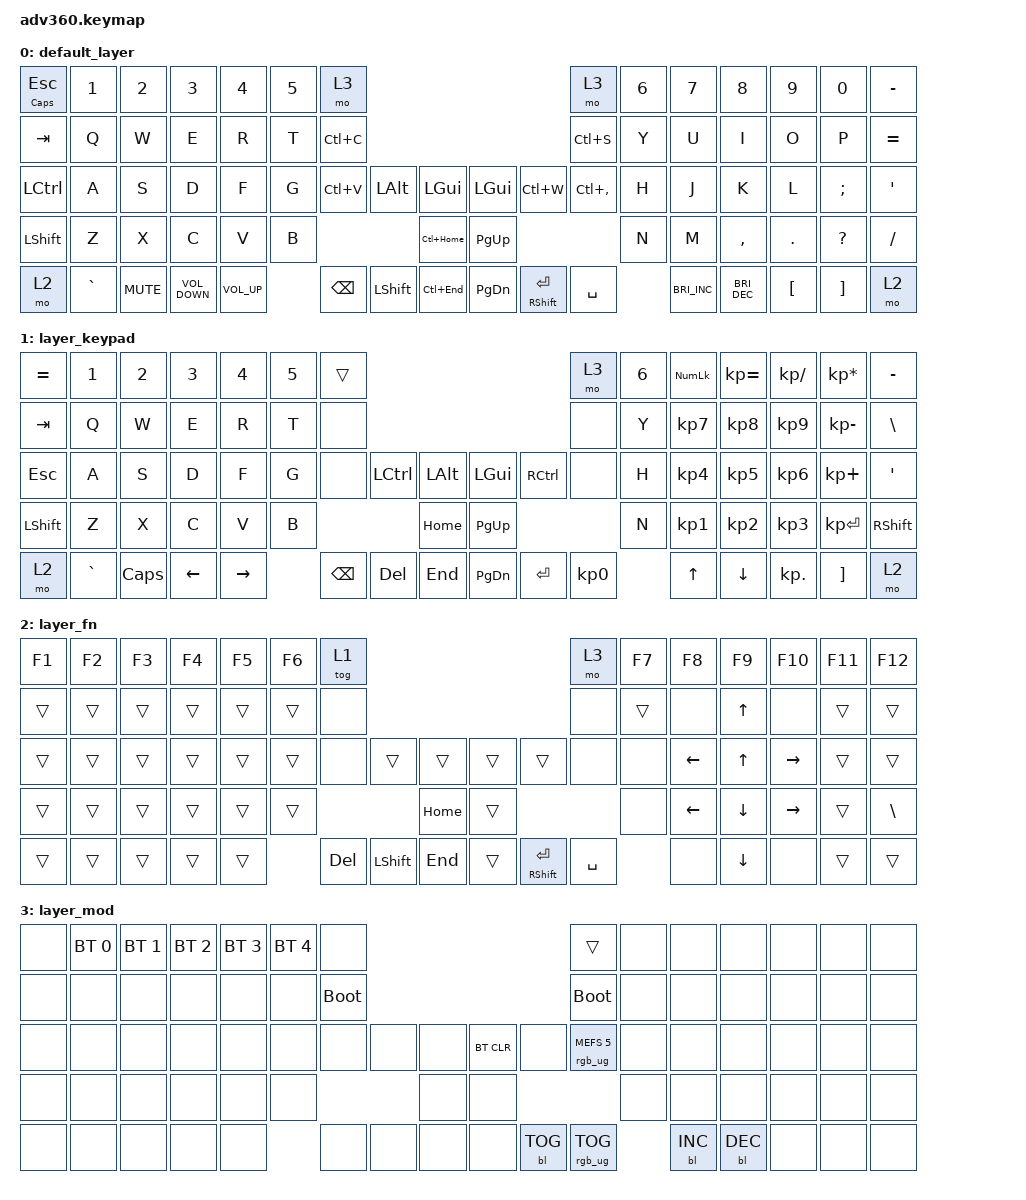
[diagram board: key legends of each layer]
/*
 * Copyright (c) 2020 The ZMK Contributors
 *
 * SPDX-License-Identifier: MIT
 */
/* THIS FILE WAS GENERATED!
 *
 * This file was generated automatically. You may or may not want to
 * edit it directly.
 */

#include <behaviors.dtsi>
#include <dt-bindings/zmk/backlight.h>
#include <dt-bindings/zmk/bt.h>
#include <dt-bindings/zmk/keys.h>
#include <dt-bindings/zmk/rgb.h>

/ {
    behaviors {
        #include "macros.dtsi"
    #include "version.dtsi"

        hm: homerow_mods {
            compatible = "zmk,behavior-hold-tap";
            label = "HOMEROW_MODS";
            #binding-cells = <2>;
            tapping-term-ms = <200>;
            quick_tap_ms = <175>;
            flavor = "tap-preferred";
            bindings = <&kp>, <&kp>;
        };
    };

    keymap {
        compatible = "zmk,keymap";

        default_layer {
            bindings = <
&mt CAPS ESC      &kp N1     &kp N2      &kp N3             &kp N4        &kp N5  &mo 3                                                                       &mo 3          &kp N6  &kp N7                &kp N8                &kp N9    &kp N0     &kp MINUS
&kp TAB           &kp Q      &kp W       &kp E              &kp R         &kp T   &kp LC(C)                                                                   &kp LC(S)      &kp Y   &kp U                 &kp I                 &kp O     &kp P      &kp EQUAL
&kp LEFT_CONTROL  &kp A      &kp S       &kp D              &kp F         &kp G   &kp LC(V)      &kp LEFT_ALT  &kp LGUI          &kp LGUI   &kp LC(W)         &kp LC(COMMA)  &kp H   &kp J                 &kp K                 &kp L     &kp SEMI   &kp SQT
&kp LSHFT         &kp Z      &kp X       &kp C              &kp V         &kp B                                &kp LC(HOME)      &kp PG_UP                                   &kp N   &kp M                 &kp COMMA             &kp DOT   &kp QMARK  &kp FSLH
&mo 2             &kp GRAVE  &kp C_MUTE  &kp C_VOLUME_DOWN  &kp C_VOL_UP          &kp BACKSPACE  &kp LSHIFT    &kp LC(END)       &kp PG_DN  &mt RSHIFT ENTER  &kp SPACE              &kp C_BRIGHTNESS_INC  &kp C_BRIGHTNESS_DEC  &kp LBKT  &kp RBKT   &mo 2
            >;
        };

        layer_keypad {
            bindings = <
&kp EQUAL  &kp N1     &kp N2    &kp N3    &kp N4     &kp N5  &trans                                                   &mo 3      &kp N6  &kp KP_NUM  &kp KP_EQUAL  &kp KP_DIVIDE  &kp KP_MULTIPLY  &kp MINUS
&kp TAB    &kp Q      &kp W     &kp E     &kp R      &kp T   &none                                                    &none      &kp Y   &kp KP_N7   &kp KP_N8     &kp KP_N9      &kp KP_MINUS     &kp BSLH
&kp ESC    &kp A      &kp S     &kp D     &kp F      &kp G   &none     &kp LCTRL  &kp LALT      &kp LGUI   &kp RCTRL  &none      &kp H   &kp KP_N4   &kp KP_N5     &kp KP_N6      &kp KP_PLUS      &kp SQT
&kp LSHFT  &kp Z      &kp X     &kp C     &kp V      &kp B                        &kp HOME      &kp PG_UP                        &kp N   &kp KP_N1   &kp KP_N2     &kp KP_N3      &kp KP_ENTER     &kp RSHFT
&mo 2      &kp GRAVE  &kp CAPS  &kp LEFT  &kp RIGHT          &kp BSPC  &kp DEL    &kp END       &kp PG_DN  &kp ENTER  &kp KP_N0          &kp UP      &kp DOWN      &kp KP_DOT     &kp RBKT         &mo 2
            >;
        };

        layer_fn {
            bindings = <
&kp F1  &kp F2  &kp F3  &kp F4  &kp F5  &kp F6  &tog 1                                                      &mo 3      &kp F7  &kp F8          &kp F9          &kp F10          &kp F11  &kp F12
&trans  &trans  &trans  &trans  &trans  &trans  &none                                                       &none      &trans  &none           &kp UP_ARROW    &none            &trans   &trans
&trans  &trans  &trans  &trans  &trans  &trans  &none    &trans     &trans        &trans  &trans            &none      &none   &kp LEFT_ARROW  &kp UP_ARROW    &kp RIGHT_ARROW  &trans   &trans
&trans  &trans  &trans  &trans  &trans  &trans                      &kp HOME      &trans                               &none   &kp LEFT_ARROW  &kp DOWN_ARROW  &kp RIGHT_ARROW  &trans   &kp BSLH
&trans  &trans  &trans  &trans  &trans          &kp DEL  &kp LSHFT  &kp END       &trans  &mt RSHIFT ENTER  &kp SPACE          &none           &kp DOWN_ARROW  &none            &trans   &trans
            >;
        };

        layer_mod {
            bindings = <
&none  &bt BT_SEL 0  &bt BT_SEL 1  &bt BT_SEL 2  &bt BT_SEL 3  &bt BT_SEL 4  &none                                                  &trans                  &none  &none       &none       &none  &none  &none
&none  &none         &none         &none         &none         &none         &bootloader                                            &bootloader             &none  &none       &none       &none  &none  &none
&none  &none         &none         &none         &none         &none         &none        &none  &none      &bt BT_CLR  &none       &rgb_ug RGB_MEFS_CMD 5  &none  &none       &none       &none  &none  &none
&none  &none         &none         &none         &none         &none                             &none      &none                                           &none  &none       &none       &none  &none  &none
&none  &none         &none         &none         &none                       &none        &none  &none      &none       &bl BL_TOG  &rgb_ug RGB_TOG                &bl BL_INC  &bl BL_DEC  &none  &none  &none
            >;
        };
    };
};
